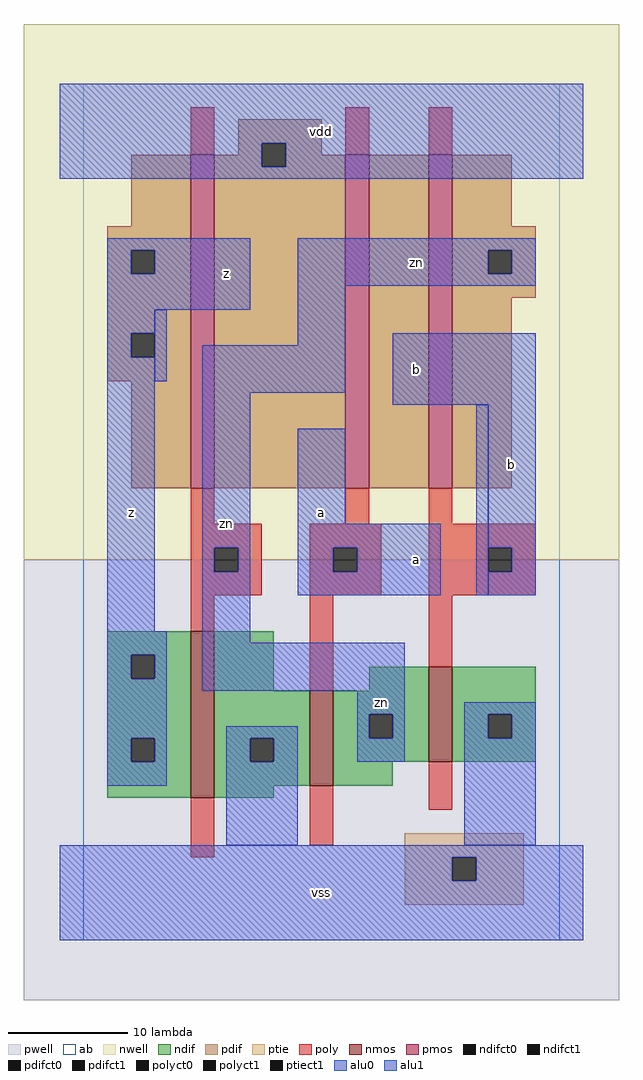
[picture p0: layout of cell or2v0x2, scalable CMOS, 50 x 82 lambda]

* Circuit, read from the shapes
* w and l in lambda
.subckt or2v0x2 a b vdd vss z zn
M1 vss zn z vss nfet w=14 l=2
M2 zn a vss vss nfet w=8 l=2
M3 vss b zn vss nfet w=8 l=2
M4 vdd zn z n1 pfet w=28 l=2
M5 n2 a vdd n1 pfet w=28 l=2
M6 zn b n2 n1 pfet w=28 l=2
.ends

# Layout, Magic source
magic
tech scmos
<< ab >>
rect 0 0 40 72
<< nwell >>
rect -5 32 45 77
<< pwell >>
rect -5 -5 45 32
<< poly >>
rect 9 66 11 70
rect 22 66 24 70
rect 29 66 31 70
rect 9 35 11 38
rect 22 35 24 38
rect 29 35 31 38
rect 9 33 15 35
rect 9 31 11 33
rect 13 31 15 33
rect 9 29 15 31
rect 19 33 25 35
rect 19 31 21 33
rect 23 31 25 33
rect 19 29 25 31
rect 29 33 38 35
rect 29 31 34 33
rect 36 31 38 33
rect 29 29 38 31
rect 9 26 11 29
rect 19 21 21 29
rect 29 23 31 29
rect 9 7 11 12
rect 19 8 21 13
rect 29 11 31 15
<< ndif >>
rect 2 24 9 26
rect 2 22 4 24
rect 6 22 9 24
rect 2 17 9 22
rect 2 15 4 17
rect 6 15 9 17
rect 2 12 9 15
rect 11 21 16 26
rect 24 21 29 23
rect 11 17 19 21
rect 11 15 14 17
rect 16 15 19 17
rect 11 13 19 15
rect 21 19 29 21
rect 21 17 24 19
rect 26 17 29 19
rect 21 15 29 17
rect 31 19 38 23
rect 31 17 34 19
rect 36 17 38 19
rect 31 15 38 17
rect 21 13 26 15
rect 11 12 16 13
<< pdif >>
rect 13 67 20 69
rect 13 66 15 67
rect 4 60 9 66
rect 2 58 9 60
rect 2 56 4 58
rect 6 56 9 58
rect 2 51 9 56
rect 2 49 4 51
rect 6 49 9 51
rect 2 47 9 49
rect 4 38 9 47
rect 11 65 15 66
rect 17 66 20 67
rect 17 65 22 66
rect 11 38 22 65
rect 24 38 29 66
rect 31 60 36 66
rect 31 58 38 60
rect 31 56 34 58
rect 36 56 38 58
rect 31 54 38 56
rect 31 38 36 54
<< alu1 >>
rect -2 67 42 72
rect -2 65 15 67
rect 17 65 42 67
rect -2 64 42 65
rect 2 58 14 59
rect 2 56 4 58
rect 6 56 14 58
rect 2 53 14 56
rect 2 51 6 53
rect 2 49 4 51
rect 2 26 6 49
rect 26 45 38 51
rect 2 24 7 26
rect 2 22 4 24
rect 6 22 7 24
rect 2 17 7 22
rect 18 35 22 43
rect 18 33 30 35
rect 18 31 21 33
rect 23 31 30 33
rect 18 29 30 31
rect 34 33 38 45
rect 36 31 38 33
rect 34 29 38 31
rect 2 15 4 17
rect 6 15 7 17
rect 2 13 7 15
rect -2 7 42 8
rect -2 5 31 7
rect 33 5 42 7
rect -2 0 42 5
<< ptie >>
rect 27 7 37 9
rect 27 5 31 7
rect 33 5 37 7
rect 27 3 37 5
<< nmos >>
rect 9 12 11 26
rect 19 13 21 21
rect 29 15 31 23
<< pmos >>
rect 9 38 11 66
rect 22 38 24 66
rect 29 38 31 66
<< polyct0 >>
rect 11 31 13 33
<< polyct1 >>
rect 21 31 23 33
rect 34 31 36 33
<< ndifct0 >>
rect 14 15 16 17
rect 24 17 26 19
rect 34 17 36 19
<< ndifct1 >>
rect 4 22 6 24
rect 4 15 6 17
<< ptiect1 >>
rect 31 5 33 7
<< pdifct0 >>
rect 34 56 36 58
<< pdifct1 >>
rect 4 56 6 58
rect 4 49 6 51
rect 15 65 17 67
<< alu0 >>
rect 18 58 38 59
rect 18 56 34 58
rect 36 56 38 58
rect 18 55 38 56
rect 6 47 7 53
rect 18 50 22 55
rect 10 46 22 50
rect 10 33 14 46
rect 10 31 11 33
rect 13 31 14 33
rect 10 25 14 31
rect 33 29 34 45
rect 10 21 27 25
rect 23 19 27 21
rect 12 17 18 18
rect 12 15 14 17
rect 16 15 18 17
rect 23 17 24 19
rect 26 17 27 19
rect 23 15 27 17
rect 32 19 38 20
rect 32 17 34 19
rect 36 17 38 19
rect 12 8 18 15
rect 32 8 38 17
<< labels >>
rlabel alu0 12 35 12 35 6 zn
rlabel alu0 25 20 25 20 6 zn
rlabel alu0 28 57 28 57 6 zn
rlabel alu1 4 36 4 36 6 z
rlabel alu1 12 56 12 56 6 z
rlabel alu1 20 4 20 4 6 vss
rlabel alu1 28 32 28 32 6 a
rlabel alu1 20 36 20 36 6 a
rlabel alu1 28 48 28 48 6 b
rlabel alu1 20 68 20 68 6 vdd
rlabel alu1 36 40 36 40 6 b
<< end >>
